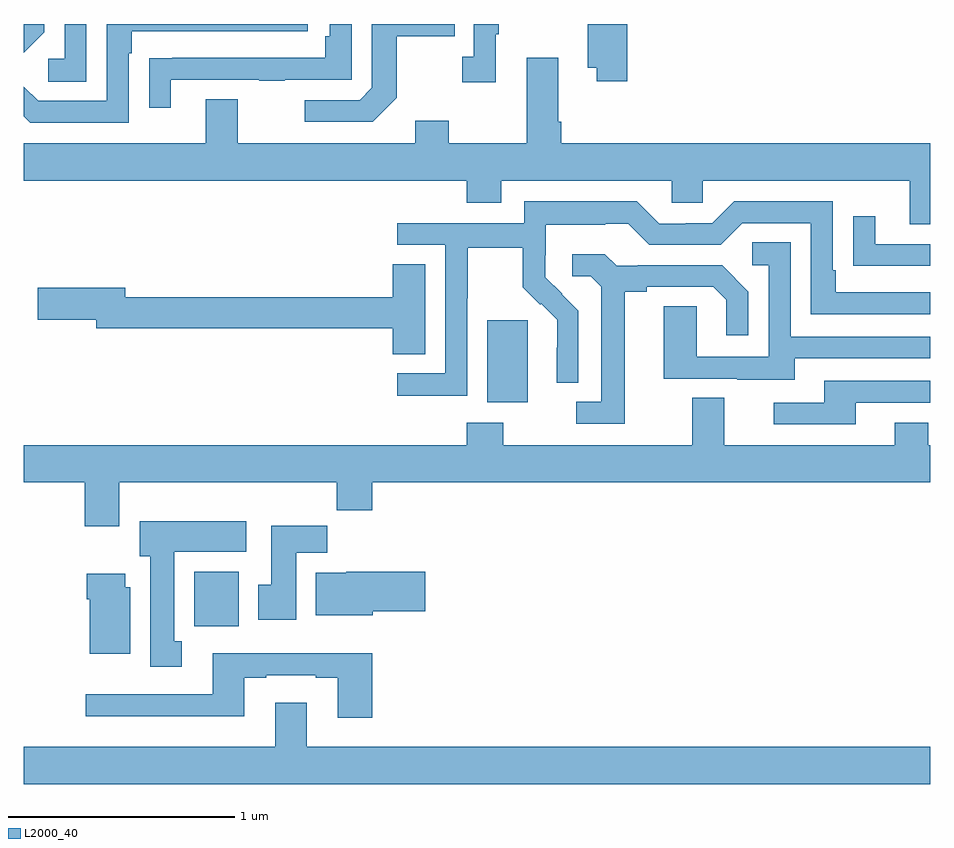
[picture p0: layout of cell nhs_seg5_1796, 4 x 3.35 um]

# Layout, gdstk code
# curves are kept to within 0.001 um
import gdstk
lib = gdstk.Library(unit=1e-6, precision=1e-09)
def R(c, l, rs):  # rectangles x0, y0, x1, y1
    for r in rs: c.add(gdstk.rectangle(r[:2], r[2:], *l))
def P(c, l, *ps):  # polygons
    for p in ps: c.add(gdstk.Polygon(p, *l))
L2000_40 = (2000, 40)

nhs_seg5_1796 = lib.new_cell('nhs_seg5_1796')
R(nhs_seg5_1796, L2000_40, [(219.752,840.14,219.949,840.382), (221.045,841.13,221.224,841.491)])
P(nhs_seg5_1796, L2000_40, [(219.09,842.762),(219.09,842.799),(219,842.799),(219,842.672)],
  [(219.649,842.553),(220.039,842.553),(220.039,842.548),(220.151,842.548),(220.151,842.553),(220.446,842.553),(220.446,842.799),(220.35,842.799),(220.35,842.746),(220.33,842.746),(220.33,842.649),(219.655,842.649),(219.655,842.648),(219.553,842.648),(219.553,842.43),(219.649,842.43)],
  [(219.276,842.799),(219.18,842.799),(219.18,842.646),(219.108,842.646),(219.108,842.545),(219.276,842.545)],
  [(219.462,842.669),(219.475,842.669),(219.475,842.766),(220.252,842.766),(220.252,842.799),(219.366,842.799),(219.366,842.46),(219.063,842.46),(219,842.523),(219,842.391),(219.027,842.364),(219.462,842.364)],
  [(221.663,842.799),(221.488,842.799),(221.488,842.606),(221.528,842.606),(221.528,842.547),(221.663,842.547)],
  [(220.645,842.473),(220.645,842.746),(220.901,842.746),(220.901,842.799),(220.536,842.799),(220.536,842.517),(220.482,842.463),(220.239,842.463),(220.239,842.367),(220.539,842.367)],
  [(221.083,842.753),(221.095,842.753),(221.095,842.799),(220.986,842.799),(220.986,842.654),(220.935,842.654),(220.935,842.541),(221.083,842.541)],
  [(223,842.272),(221.372,842.272),(221.372,842.368),(221.359,842.368),(221.359,842.65),(221.219,842.65),(221.219,842.272),(220.875,842.272),(220.875,842.371),(220.727,842.371),(220.727,842.272),(219.943,842.272),(219.943,842.467),(219.803,842.467),(219.803,842.272),(219,842.272),(219,842.108),(220.955,842.108),(220.955,842.009),(221.107,842.009),(221.107,842.108),(221.859,842.108),(221.859,842.01),(221.997,842.01),(221.997,842.108),(222.911,842.108),(222.911,841.914),(223,841.914)],
  [(220.956,841.588),(220.959,841.588),(220.959,841.812),(221.203,841.812),(221.203,841.637),(221.28,841.56),(221.283,841.563),(221.354,841.493),(221.354,841.37),(221.352,841.37),(221.352,841.216),(221.448,841.216),(221.448,841.534),(221.302,841.682),(221.302,841.779),(221.304,841.779),(221.304,841.913),(221.567,841.913),(221.567,841.917),(221.667,841.917),(221.76,841.824),(222.075,841.824),(222.171,841.92),(222.474,841.92),(222.474,841.518),(223,841.518),(223,841.614),(222.583,841.614),(222.583,841.711),(222.57,841.711),(222.57,842.016),(222.135,842.016),(222.039,841.92),(221.921,841.92),(221.921,841.917),(221.805,841.917),(221.705,842.017),(221.208,842.017),(221.208,841.92),(220.647,841.92),(220.647,841.824),(220.86,841.824),(220.86,841.257),(220.647,841.257),(220.647,841.159),(220.956,841.159)],
  [(223,841.827),(222.757,841.827),(222.757,841.951),(222.661,841.951),(222.661,841.732),(222.763,841.732),(222.763,841.731),(223,841.731)],
  [(222.403,841.323),(223,841.323),(223,841.419),(222.384,841.419),(222.384,841.835),(222.216,841.835),(222.216,841.734),(222.288,841.734),(222.288,841.329),(221.97,841.329),(221.97,841.553),(221.825,841.553),(221.825,841.233),(222.149,841.233),(222.149,841.229),(222.403,841.229)],
  [(221.653,841.616),(221.749,841.616),(221.749,841.638),(222.044,841.638),(222.101,841.581),(222.101,841.425),(222.198,841.425),(222.198,841.618),(222.082,841.734),(221.71,841.734),(221.71,841.731),(221.616,841.731),(221.564,841.783),(221.421,841.783),(221.421,841.686),(221.502,841.686),(221.549,841.639),(221.549,841.131),(221.439,841.131),(221.439,841.035),(221.653,841.035)],
  [(220.771,841.739),(220.628,841.739),(220.628,841.592),(219.448,841.592),(219.448,841.635),(219.06,841.635),(219.06,841.493),(219.32,841.493),(219.32,841.456),(220.628,841.456),(220.628,841.342),(220.771,841.342)],
  [(222.673,841.128),(223,841.128),(223,841.224),(222.533,841.224),(222.533,841.128),(222.309,841.128),(222.309,841.032),(222.673,841.032)],
  [(219,840.776),(219.269,840.776),(219.269,840.582),(219.421,840.582),(219.421,840.776),(220.381,840.776),(220.381,840.652),(220.538,840.652),(220.538,840.776),(223,840.776),(223,840.94),(222.993,840.94),(222.993,841.039),(222.845,841.039),(222.845,840.94),(222.091,840.94),(222.091,841.148),(221.951,841.148),(221.951,840.94),(221.115,840.94),(221.115,841.039),(220.955,841.039),(220.955,840.94),(219,840.94)],
  [(219.697,840.074),(219.664,840.074),(219.664,840.47),(219.982,840.47),(219.982,840.604),(219.512,840.604),(219.512,840.45),(219.557,840.45),(219.557,839.961),(219.697,839.961)],
  [(220.201,840.464),(220.34,840.464),(220.34,840.583),(220.091,840.583),(220.091,840.324),(220.034,840.324),(220.034,840.168),(220.201,840.168)],
  [(220.54,840.206),(220.771,840.206),(220.771,840.382),(220.422,840.382),(220.422,840.376),(220.289,840.376),(220.289,840.188),(220.54,840.188)],
  [(219.469,840.312),(219.448,840.312),(219.448,840.373),(219.278,840.373),(219.278,840.26),(219.29,840.26),(219.29,840.02),(219.469,840.02)],
  [(220.538,840.022),(219.833,840.022),(219.833,839.841),(219.273,839.841),(219.273,839.744),(219.973,839.744),(219.973,839.913),(220.069,839.913),(220.069,839.925),(220.289,839.925),(220.289,839.913),(220.385,839.913),(220.385,839.736),(220.538,839.736)],
  [(223,839.608),(220.249,839.608),(220.249,839.803),(220.109,839.803),(220.109,839.608),(219,839.608),(219,839.444),(223,839.444)])

lib.write_gds('nhs_seg5_1796.gds')
